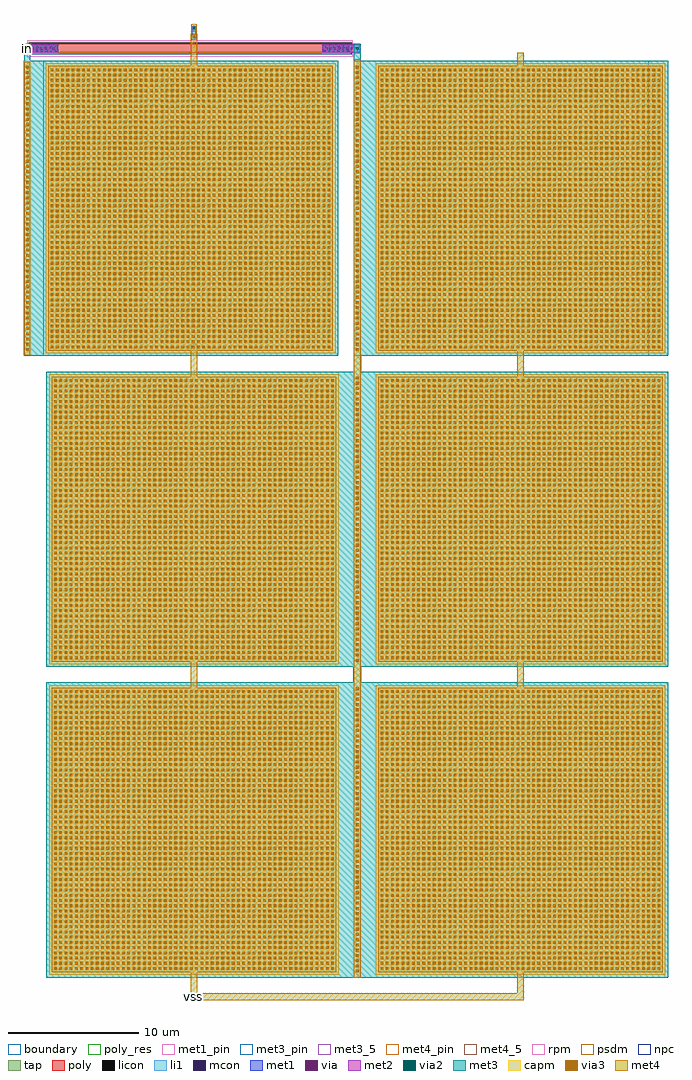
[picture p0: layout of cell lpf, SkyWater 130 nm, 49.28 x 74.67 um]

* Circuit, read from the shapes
.subckt lpf in vss
XC1 vss in sky130_fd_pr__cap_mim_m3_1 w=22.18 l=22.18
XC2 vss sky130_fd_pr__cap_mim_m3_1_PX3DWX_1/c0 sky130_fd_pr__cap_mim_m3_1 w=22.18 l=22.18 m=5
XR3 sky130_fd_pr__cap_mim_m3_1_PX3DWX_1/c0 in vss sky130_fd_pr__res_high_po w=0.69 l=20.23
.ends

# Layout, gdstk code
from math import pi, radians
import gdstk
lib = gdstk.Library(unit=1e-6, precision=1e-09)
def R(c, l, rs):  # rectangles x0, y0, x1, y1
    for r in rs: c.add(gdstk.rectangle(r[:2], r[2:], *l))
def A(c, l, x, y, w, h, nx, ny, dx, dy):  # array of equal rectangles
    R(c, l, [(x+i*dx, y+j*dy, x+i*dx+w, y+j*dy+h) for i in range(nx) for j in range(ny)])
tap = (65, 44)
poly_res = (66, 13)
poly = (66, 20)
licon = (66, 44)
li1 = (67, 20)
mcon = (67, 44)
met1_pin = (68, 16)
met1 = (68, 20)
via = (68, 44)
met2 = (69, 20)
via2 = (69, 44)
met3_5 = (70, 5)
met3_pin = (70, 16)
met3 = (70, 20)
via3 = (70, 44)
met4_5 = (71, 5)
met4_pin = (71, 16)
met4 = (71, 20)
rpm = (86, 20)
capm = (89, 44)
psdm = (94, 20)
npc = (95, 20)
boundary = (235, 4)

sky130_fd_pr__res_high_p = lib.new_cell('sky130_fd_pr__res_high_po_0p69_T6VK6H')
R(sky130_fd_pr__res_high_p, poly_res, [(-0.345,-10.175,0.345,10.175)])
R(sky130_fd_pr__res_high_p, poly, [(-0.345,-12.255,0.345,12.255)])
R(sky130_fd_pr__res_high_p, licon, [(-0.095,-12.175,0.095,-10.175), (-0.095,10.175,0.095,12.175)])
R(sky130_fd_pr__res_high_p, li1, [(-0.345,-12.255,0.345,-10.095), (-0.345,10.095,0.345,12.255)])
A(sky130_fd_pr__res_high_p, mcon, -0.265, -12.16, 0.17, 0.17, 1, 6, 0, 0.36)
A(sky130_fd_pr__res_high_p, mcon, 0.095, -12.16, 0.17, 0.17, 1, 6, 0, 0.36)
A(sky130_fd_pr__res_high_p, mcon, -0.265, 10.185, 0.17, 0.17, 1, 6, 0, 0.36)
A(sky130_fd_pr__res_high_p, mcon, 0.095, 10.185, 0.17, 0.17, 1, 6, 0, 0.36)
R(sky130_fd_pr__res_high_p, met1, [(-0.295,-12.225,0.295,-10.12), (-0.295,10.12,0.295,12.225)])
R(sky130_fd_pr__res_high_p, rpm, [(-0.635,-12.455,0.635,12.455)])
R(sky130_fd_pr__res_high_p, psdm, [(-0.455,-12.365,0.455,12.365)])
R(sky130_fd_pr__res_high_p, npc, [(-0.44,-12.35,0.44,12.35)])
sky130_fd_pr__res_high_p.add(gdstk.Label('r0', (0,12.08), layer=68, texttype=5))
sky130_fd_pr__res_high_p.add(gdstk.Label('r1', (0,-12.08), layer=68, texttype=5))

sky130_fd_pr__cap_mim_m3 = lib.new_cell('sky130_fd_pr__cap_mim_m3_1_PX3DWX')
R(sky130_fd_pr__cap_mim_m3, met3_pin, [(-12.02,58.935,-11.5,59.45)])
R(sky130_fd_pr__cap_mim_m3, met3, [(-35.54,-11.29,12.02,11.29), (-35.54,12.49,12.02,35.07), (-12.02,36.27,12.02,58.85), (-12.02,58.85,-11.5,59.45)])
A(sky130_fd_pr__cap_mim_m3, via3, -11.86, -10.9, 0.2, 0.2, 1, 55, 0, 0.4)
A(sky130_fd_pr__cap_mim_m3, via3, -34.95, -10.7, 0.2, 0.2, 54, 54, 0.4, 0.4)
A(sky130_fd_pr__cap_mim_m3, via3, -9.97, -10.7, 0.2, 0.2, 54, 54, 0.4, 0.4)
A(sky130_fd_pr__cap_mim_m3, via3, -11.86, 12.88, 0.2, 0.2, 1, 55, 0, 0.4)
A(sky130_fd_pr__cap_mim_m3, via3, -34.95, 13.08, 0.2, 0.2, 54, 54, 0.4, 0.4)
A(sky130_fd_pr__cap_mim_m3, via3, -9.97, 13.08, 0.2, 0.2, 54, 54, 0.4, 0.4)
A(sky130_fd_pr__cap_mim_m3, via3, -11.86, 36.66, 0.2, 0.2, 1, 55, 0, 0.4)
A(sky130_fd_pr__cap_mim_m3, via3, -9.97, 36.86, 0.2, 0.2, 54, 54, 0.4, 0.4)
R(sky130_fd_pr__cap_mim_m3, met4_pin, [(-24.51,-13.01,-23.99,-12.49)])
A(sky130_fd_pr__cap_mim_m3, met4, -10.165, -10.895, 21.79, 21.79, 1, 3, 0, 23.78)
R(sky130_fd_pr__cap_mim_m3, met4, [(-24.51,-13.01,0.99,-12.49), (-24.51,-12.49,-23.99,-10.895), (0.47,-12.49,0.99,-10.895), (-12.02,-11.29,-11.5,58.85), (-35.145,-10.895,-13.355,10.895), (-24.51,10.895,-23.99,12.885), (0.47,10.895,0.99,12.885), (-35.145,12.885,-13.355,34.675), (-24.51,34.675,-23.99,36.67), (0.47,34.675,0.99,36.665), (0.47,58.455,0.99,59.45)])
A(sky130_fd_pr__cap_mim_m3, capm, -10.36, -11.09, 22.18, 22.18, 1, 3, 0, 23.78)
R(sky130_fd_pr__cap_mim_m3, capm, [(-35.34,-11.09,-13.16,11.09), (-35.34,12.69,-13.16,34.87)])
R(sky130_fd_pr__cap_mim_m3, boundary, [(-12.02,36.27,10.56,58.85)])
sky130_fd_pr__cap_mim_m3.add(gdstk.Label('c1', (-24.25,-12.75), layer=71, texttype=5))
sky130_fd_pr__cap_mim_m3.add(gdstk.Label('c0', (-11.76,59.192), layer=70, texttype=5))

c_sky130_fd_pr__cap_mim_m3 = lib.new_cell('sky130_fd_pr__cap_mim_m3_1_P73DWX')
R(c_sky130_fd_pr__cap_mim_m3, met3_5, [(11.52,10.75,12,11.23)])
R(c_sky130_fd_pr__cap_mim_m3, met3, [(-12.02,-11.29,12.02,11.29)])
A(c_sky130_fd_pr__cap_mim_m3, via3, 11.66, -10.9, 0.2, 0.2, 1, 55, 0, 0.4)
A(c_sky130_fd_pr__cap_mim_m3, via3, -11.43, -10.7, 0.2, 0.2, 54, 54, 0.4, 0.4)
R(c_sky130_fd_pr__cap_mim_m3, met4_5, [(-1.25,-10.895,-0.73,-10.375)])
R(c_sky130_fd_pr__cap_mim_m3, met4, [(11.52,-11.23,12,11.23), (-11.625,-10.895,10.165,10.895)])
R(c_sky130_fd_pr__cap_mim_m3, capm, [(-11.82,-11.09,10.36,11.09)])
R(c_sky130_fd_pr__cap_mim_m3, boundary, [(-12.02,-11.29,10.56,11.29)])
c_sky130_fd_pr__cap_mim_m3.add(gdstk.Label('c0', (11.76,10.99), layer=70, texttype=5))
c_sky130_fd_pr__cap_mim_m3.add(gdstk.Label('c1', (-0.99,-10.635), layer=71, texttype=5))

tap_1_gnd = lib.new_cell('tap_1_gnd')
R(tap_1_gnd, tap, [(0.145,0.32,0.315,0.845)])
R(tap_1_gnd, licon, [(0.145,0.555,0.315,0.725)])
R(tap_1_gnd, li1, [(0,-0.085,0.46,0.085), (0.085,0.085,0.375,0.81)])
R(tap_1_gnd, mcon, [(0.145,-0.085,0.315,0.085)])
R(tap_1_gnd, met1_pin, [(0,-0.24,0.46,0.24), (0.16,-0.065,0.31,0.07)])
R(tap_1_gnd, met1, [(0,-0.24,0.46,0.24)])
R(tap_1_gnd, psdm, [(0.02,0.195,0.44,0.97)])
tap_1_gnd.add(gdstk.Label('VGND', (0.23,0), layer=68, texttype=5))
tap_1_gnd.add(gdstk.Label('VGND', (0.235,0.002), layer=68, texttype=5))

lpf = lib.new_cell('lpf')
R(lpf, met1, [(-1.145,23.23,1.4,23.82), (21.64,23.23,24.525,23.82), (11.55,24.185,12.07,24.665)])
A(lpf, via, -0.915, 23.45, 0.15, 0.15, 7, 1, 0.32, 0)
A(lpf, via, 21.89, 23.45, 0.15, 0.15, 8, 1, 0.32, 0)
R(lpf, via, [(11.735,24.35,11.885,24.5)])
R(lpf, met2, [(-1.18,23.18,1.425,23.87), (21.615,23.18,24.56,23.87), (11.55,24.185,12.07,24.665)])
R(lpf, via2, [(-1.04,23.425,-0.84,23.625), (24.2,23.425,24.4,23.625), (11.71,24.325,11.91,24.525)])
R(lpf, met3_pin, [(-1.18,23.285,-0.7,23.765)])
R(lpf, met3, [(24,-47.42,24.6,-1.2), (24.04,-1.2,24.6,0), (-1.18,22.52,-0.7,23.87), (24.04,22.58,24.56,23.87), (11.55,24.185,12.07,24.665)])
R(lpf, via3, [(11.71,24.325,11.91,24.525)])
R(lpf, met4_pin, [(11.55,-49.28,12.03,-48.8)])
R(lpf, met4, [(11.55,-49.28,12.07,0.915), (11.55,22.185,12.07,24.665)])
lpf.add(gdstk.Reference(sky130_fd_pr__res_high_p, (11.52,23.525), rotation=3*pi/2))
lpf.add(gdstk.Reference(sky130_fd_pr__cap_mim_m3, (36.06,-36.27)))
lpf.add(gdstk.Reference(c_sky130_fd_pr__cap_mim_m3, (10.82,11.29), rotation=pi, x_reflection=True))
lpf.add(gdstk.Reference(tap_1_gnd, (11.58,24.425)))
lpf.add(gdstk.Label('in', (-0.94,23.525), layer=70, texttype=5))
lpf.add(gdstk.Label('vss', (11.79,-49.04), layer=71, texttype=5))

lib.write_gds('lpf.gds')
